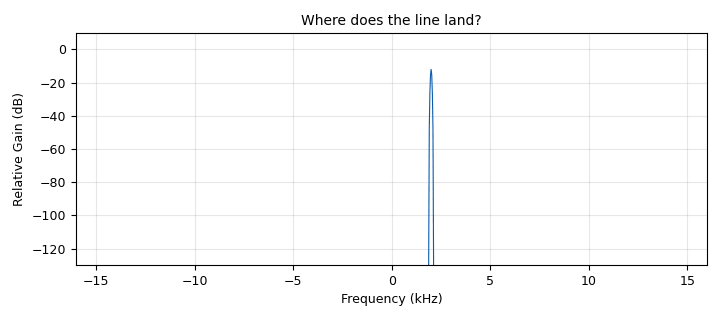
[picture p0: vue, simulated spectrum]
options:
  parameters:
    generate_options: qt_gui
    id: fg_tp04_001
    output_language: python
    title: FG-TP04-001
  states: {}

blocks:
- name: f_source
  id: variable_qtgui_range
  parameters:
    gui_hint: 0,0,1,1
    label: '"Frequency (Hz)"'
    start: '1000'
    step: '500'
    stop: '30000'
    value: '2000'
  states: {}
- name: samp_rate
  id: variable
  parameters:
    value: '32000'
  states: {}
- name: debit
  id: blocks_throttle2
  parameters:
    samples_per_second: samp_rate
    type: complex
  states: {}
- name: ton
  id: analog_sig_source_x
  parameters:
    amp: '0.7'
    freq: f_source
    offset: '0'
    phase: '0'
    samp_rate: samp_rate
    type: complex
    waveform: analog.GR_COS_WAVE
  states: {}
- name: vue
  id: qtgui_freq_sink_x
  parameters:
    average: '0.2'
    bw: samp_rate
    fc: '0'
    fftsize: '1024'
    grid: 'True'
    gui_hint: 1,0,1,1
    legend: 'False'
    name: '"Where does the line land?"'
    type: complex
    ymin: '-130'
  states: {}

connections:
- [debit, '0', vue, '0']
- [ton, '0', debit, '0']

metadata:
  file_format: 1
  grc_version: 3.10.12.0
